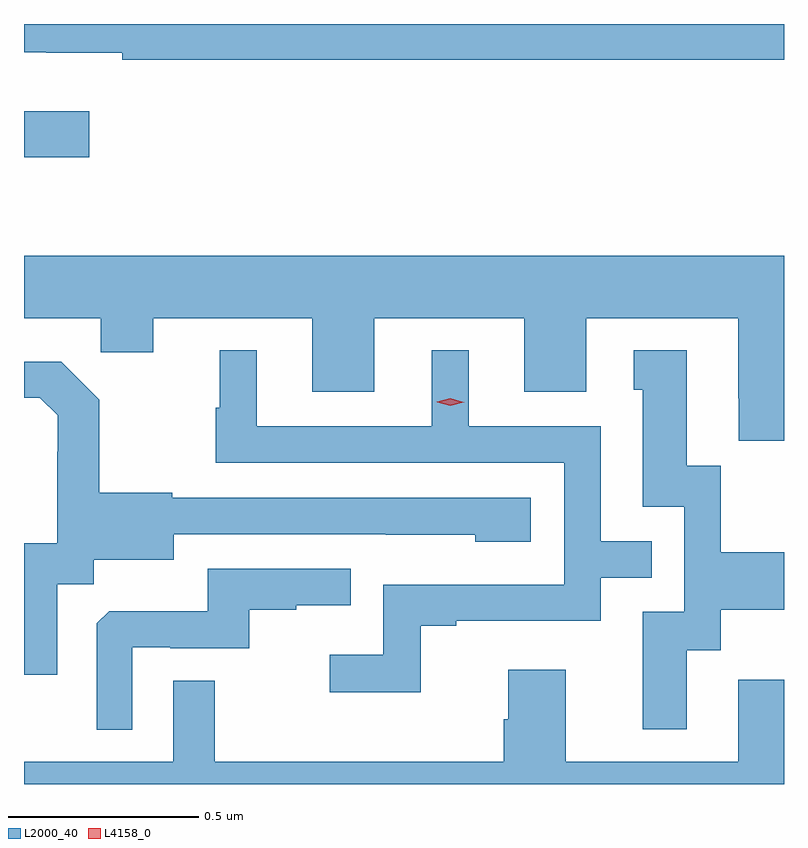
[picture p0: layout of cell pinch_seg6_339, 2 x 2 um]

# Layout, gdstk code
import gdstk
lib = gdstk.Library(unit=1e-6, precision=1e-09)
def R(c, l, rs):  # rectangles x0, y0, x1, y1
    for r in rs: c.add(gdstk.rectangle(r[:2], r[2:], *l))
def P(c, l, *ps):  # polygons
    for p in ps: c.add(gdstk.Polygon(p, *l))
L2000_40 = (2000, 40)
L4158_0 = (4158, 0)

pinch_seg6_339 = lib.new_cell('pinch_seg6_339')
R(pinch_seg6_339, L2000_40, [(734.325,978.395,734.497,978.517)])
P(pinch_seg6_339, L2000_40, [(736.325,978.746),(734.325,978.746),(734.325,978.672),(734.384,978.672),(734.384,978.671),(734.584,978.671),(734.584,978.652),(736.325,978.652)],
  [(736.325,978.136),(734.325,978.136),(734.325,977.972),(734.527,977.972),(734.527,977.882),(734.665,977.882),(734.665,977.972),(735.083,977.972),(735.083,977.778),(735.247,977.778),(735.247,977.972),(735.641,977.972),(735.641,977.778),(735.805,977.778),(735.805,977.972),(736.205,977.972),(736.205,977.761),(736.206,977.761),(736.206,977.649),(736.325,977.649)],
  [(735.369,977.163),(735.463,977.163),(735.463,977.175),(735.843,977.175),(735.843,977.289),(735.977,977.289),(735.977,977.385),(735.843,977.385),(735.843,977.688),(735.496,977.688),(735.496,977.887),(735.398,977.887),(735.398,977.688),(734.938,977.688),(734.938,977.887),(734.84,977.887),(734.84,977.736),(734.829,977.736),(734.829,977.592),(735.747,977.592),(735.747,977.271),(735.27,977.271),(735.27,977.086),(735.129,977.086),(735.129,976.988),(735.369,976.988)],
  [(736.069,977.098),(736.159,977.098),(736.159,977.204),(736.325,977.204),(736.325,977.356),(736.158,977.356),(736.158,977.583),(736.069,977.583),(736.069,977.887),(735.929,977.887),(735.929,977.784),(735.953,977.784),(735.953,977.475),(736.062,977.475),(736.062,977.199),(735.953,977.199),(735.953,976.89),(736.069,976.89)],
  [(734.413,977.272),(734.508,977.272),(734.508,977.336),(734.719,977.336),(734.719,977.403),(735.277,977.403),(735.277,977.402),(735.513,977.402),(735.513,977.384),(735.658,977.384),(735.658,977.499),(734.715,977.499),(734.715,977.512),(734.523,977.512),(734.523,977.757),(734.423,977.857),(734.325,977.857),(734.325,977.763),(734.367,977.763),(734.414,977.716),(734.414,977.621),(734.412,977.621),(734.412,977.38),(734.325,977.38),(734.325,977.034),(734.413,977.034)],
  [(734.61,977.106),(734.71,977.106),(734.71,977.103),(734.918,977.103),(734.918,977.205),(735.041,977.205),(735.041,977.216),(735.185,977.216),(735.185,977.313),(734.808,977.313),(734.808,977.201),(734.549,977.201),(734.517,977.169),(734.517,976.889),(734.61,976.889)],
  [(736.325,977.02),(736.205,977.02),(736.205,976.804),(735.751,976.804),(735.751,977.047),(735.599,977.047),(735.599,976.917),(735.587,976.917),(735.587,976.804),(734.827,976.804),(734.827,977.018),(734.718,977.018),(734.718,976.804),(734.325,976.804),(734.325,976.746),(736.325,976.746)])
P(pinch_seg6_339, L4158_0, [(735.447,977.741),(735.412,977.751),(735.411,977.752),(735.412,977.752),(735.447,977.761),(735.482,977.75),(735.483,977.75),(735.482,977.75)])

lib.write_gds('pinch_seg6_339.gds')
